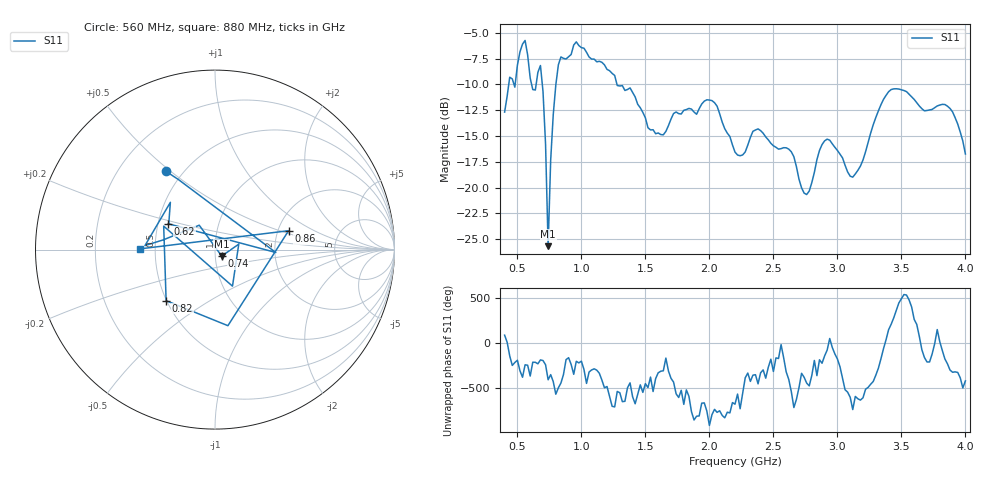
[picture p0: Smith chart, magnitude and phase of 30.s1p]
!Created with skrf (http://scikit-rf.org).
# Hz S RI R 50.0
!freq ReS11 ImS11
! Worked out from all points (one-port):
!   181 points, 400 MHz to 4 GHz, reference 50 ohm
!   lowest |S11| = -25.7 dB at 740 MHz (marker M1), VSWR 1.11, Z = 53.7 - j3.89 ohm
!   |S11| at or under -10 dB: start of sweep to 432.3 MHz; 694.6 MHz to 800.6 MHz (106 MHz wide, 14.2 % of centre); 1.278 GHz to end of sweep (the widest 3 of 5)
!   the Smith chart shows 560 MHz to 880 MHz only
!   S11 on the Smith chart (normalised r, x): 560 MHz: 0.40, +0.48; 620 MHz: 0.56, +0.18; 740 MHz: 1.07, -0.08; 820 MHz: 0.50, -0.33; 860 MHz: 2.29, +0.59; 880 MHz: 0.41, +0.00
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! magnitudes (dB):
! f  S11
! 400 MHz  -12.7
! 440 MHz  -9.3
! 560 MHz  -5.7
! 620 MHz  -10.5
! 680 MHz  -8.2
! 700 MHz  -10.7
! 720 MHz  -15.8
! 740 MHz  -25.7
! 760 MHz  -17.3
! 780 MHz  -12.9
! 820 MHz  -8.1
! 860 MHz  -7.5
! 880 MHz  -7.5
! 960 MHz  -5.9
! 1.3 GHz  -10.1
! 1.58 GHz  -14.8
! 1.76 GHz  -12.8
! 2.02 GHz  -11.6
! 2.2 GHz  -16.6
! 2.38 GHz  -14.3
! 2.66 GHz  -17.0
! 2.76 GHz  -20.7
! 2.92 GHz  -15.3
! 3.1 GHz  -18.9
! 3.4 GHz  -10.7
! 3.56 GHz  -10.9
! 3.88 GHz  -12.3
! 4 GHz  -16.7
